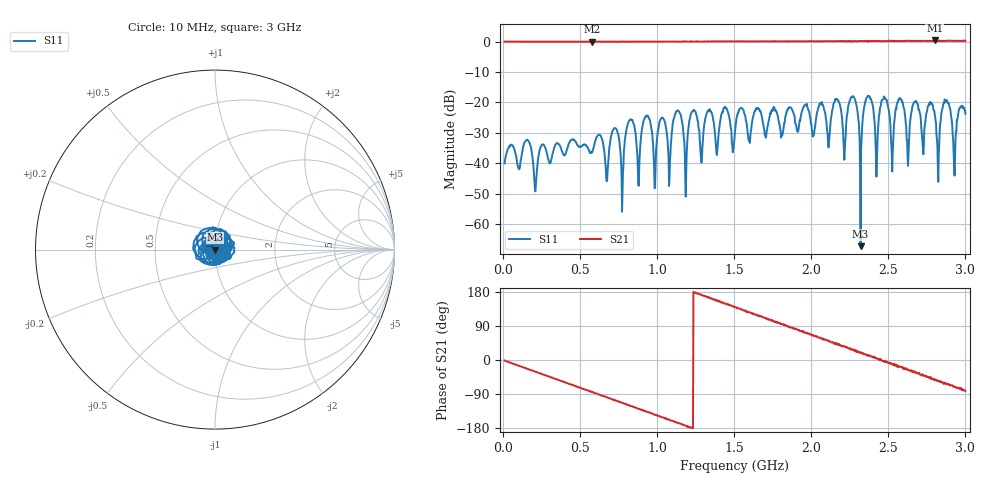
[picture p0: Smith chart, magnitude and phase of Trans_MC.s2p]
# HZ S RI R 50
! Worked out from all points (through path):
!   1021 points, 10 MHz to 3 GHz, reference 50 ohm
!   highest |S21| = 0.35 dB at 2.801 GHz (marker M1); lowest = -0.1 dB at 575.8 MHz (marker M2)
!   group delay of S21, straight-line fit = 408 ps
!   lowest |S11| = -67.2 dB at 2.32 GHz (marker M3), VSWR 1.00, Z = 50 + j0.0331 ohm
!   |S11| at or under -10 dB: start of sweep to end of sweep
!   S12 and S22 are empty: the file has one direction only
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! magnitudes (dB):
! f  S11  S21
! 10 MHz  -40.0  0.0
! 508.3 MHz  -34.4  -0.1
! 575.8 MHz  -36.4  -0.1
! 1.007 GHz  -29.0  0.0
! 1.505 GHz  -29.6  0.0
! 2.003 GHz  -28.8  0.1
! 2.167 GHz  -18.9  0.1
! 2.217 GHz  -35.9  0.2
! 2.27 GHz  -18.2  0.1
! 2.32 GHz  -67.2  0.1
! 2.364 GHz  -18.1  0.1
! 2.423 GHz  -44.3  0.2
! 2.502 GHz  -22.1  0.1
! 2.525 GHz  -42.7  0.2
! 2.572 GHz  -18.6  0.2
! 2.628 GHz  -40.8  0.2
! 2.672 GHz  -19.7  0.2
! 2.801 GHz  -23.8  0.4
! 2.827 GHz  -37.0  0.2
! 2.88 GHz  -19.3  0.3
! 2.927 GHz  -40.6  0.3
! 3 GHz  -23.7  0.2
